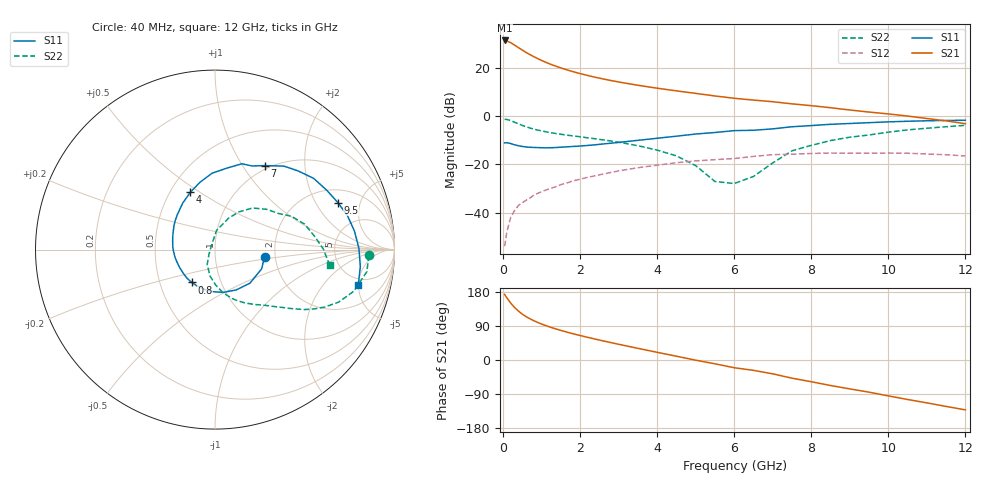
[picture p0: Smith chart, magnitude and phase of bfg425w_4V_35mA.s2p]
! Filename: 435bfg425.001
! BFG425W Field C1
! V1=8.387E-001V,V2=4.000E+000V, I1=4.655E-004A, I2=3.500E-002A
# GHz  S  MA  R 50
!  S11  S21  S12  S22
!Freq(GHz)  Mag  Ang  Mag  Ang  Mag  Ang  Mag  Ang
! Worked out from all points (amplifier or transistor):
!   44 points, 40 MHz to 12 GHz, reference 50 ohm
!   highest |S21| = 31.4 dB at 40 MHz (marker M1)
!   |S21| within 3 dB of that: start of sweep to 401.3 MHz
!   unconditionally stable (mu >= 1): start of sweep to 96.68 MHz; 938.2 MHz to end of sweep
!   at 700 MHz: K = 0.94, MSG = 29.8 dB, |S12| = -34.0 dB
!   at 2.4 GHz: K = 1.21, MAG = 17.6 dB, |S12| = -24.7 dB
!   at 12 GHz: K = 1.38, MAG = 3.0 dB, |S12| = -16.5 dB
!   S11 on the Smith chart (normalised r, x): 40 MHz: 1.75, -0.16; 800 MHz: 0.73, -0.28; 4 GHz: 0.63, +0.46; 7 GHz: 0.95, +1.27; 9.5 GHz: 2.75, +3.12; 12 GHz: 4.14, -4.96
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0.04  0.279 -8.7  37.31 173.0  0.002 45.3  0.858 -2.1
0.1  0.281 -22.4  36.37 163.9  0.004 63.3  0.855 -8.3
0.2  0.27 -43.9  33.45 149.8  0.008 65.9  0.808 -16.6
0.3  0.254 -62.1  29.84 138.5  0.011 65.9  0.749 -23.0
0.4  0.243 -78.5  26.46 129.0  0.014 64.8  0.691 -27.6
0.5  0.235 -93.4  23.5 120.8  0.016 63.4  0.643 -30.9
0.6  0.229 -105.2  21 114.3  0.018 62.6  0.602 -33.7
0.8  0.224 -125.2  17.15 103.6  0.023 61.5  0.539 -37.6
1  0.221 -141.0  14.35 94.9  0.027 60.7  0.494 -40.7
1.3  0.222 -159.5  11.43 84.2  0.033 59.0  0.446 -45.0
1.7  0.232 -178.7  8.94 72.4  0.042 56.2  0.4 -50.4
2.2  0.247 162.3  6.983 59.7  0.054 51.3  0.355 -57.9
3  0.285 137.9  5.128 41.5  0.073 41.8  0.288 -70.8
4  0.348 113.2  3.808 20.2  0.096 27.9  0.197 -89.0
4.5  0.384 102.7  3.353 10.0  0.108 20.3  0.15 -100.6
5.5  0.458 81.9  2.627 -10.1  0.125 4.8  0.044 -140.3
6.5  0.51 66.0  2.158 -27.4  0.146 -7.5  0.056 98.9
7  0.545 59.2  1.996 -36.5  0.159 -15.2  0.107 85.4
8.5  0.678 35.8  1.498 -67.3  0.172 -44.2  0.312 47.9
9.5  0.733 21.0  1.217 -84.9  0.17 -60.7  0.407 29.6
10.5  0.784 7.5  1.006 -104.2  0.17 -79.2  0.519 15.8
12  0.822 -13.7  0.697 -131.6  0.149 -108.9  0.645 -7.9
